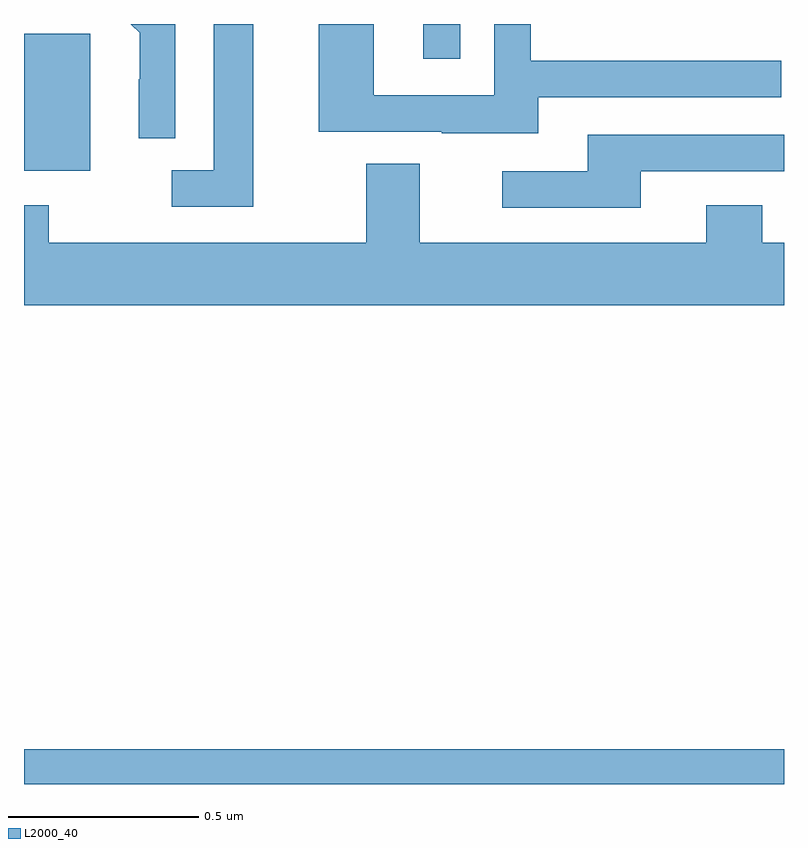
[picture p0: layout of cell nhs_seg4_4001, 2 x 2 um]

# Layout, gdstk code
import gdstk
lib = gdstk.Library(unit=1e-6, precision=1e-09)
def R(c, l, rs):  # rectangles x0, y0, x1, y1
    for r in rs: c.add(gdstk.rectangle(r[:2], r[2:], *l))
def P(c, l, *ps):  # polygons
    for p in ps: c.add(gdstk.Polygon(p, *l))
L2000_40 = (2000, 40)

nhs_seg4_4001 = lib.new_cell('nhs_seg4_4001')
R(nhs_seg4_4001, L2000_40, [(160,788.9,162,788.992), (160,790.514,160.174,790.875), (161.051,790.809,161.148,790.9)])
P(nhs_seg4_4001, L2000_40, [(161.353,790.707),(161.993,790.707),(161.993,790.803),(161.334,790.803),(161.334,790.9),(161.238,790.9),(161.238,790.713),(160.92,790.713),(160.92,790.9),(160.775,790.9),(160.775,790.617),(161.099,790.617),(161.099,790.613),(161.353,790.613)],
  [(160.398,790.9),(160.281,790.9),(160.304,790.877),(160.304,790.754),(160.302,790.754),(160.302,790.6),(160.398,790.6)],
  [(160.603,790.9),(160.499,790.9),(160.499,790.515),(160.389,790.515),(160.389,790.419),(160.603,790.419)],
  [(161.623,790.512),(162,790.512),(162,790.608),(161.483,790.608),(161.483,790.512),(161.259,790.512),(161.259,790.416),(161.623,790.416)],
  [(162,790.324),(161.943,790.324),(161.943,790.423),(161.795,790.423),(161.795,790.324),(161.041,790.324),(161.041,790.532),(160.901,790.532),(160.901,790.324),(160.065,790.324),(160.065,790.423),(160,790.423),(160,790.16),(162,790.16)])

lib.write_gds('nhs_seg4_4001.gds')
